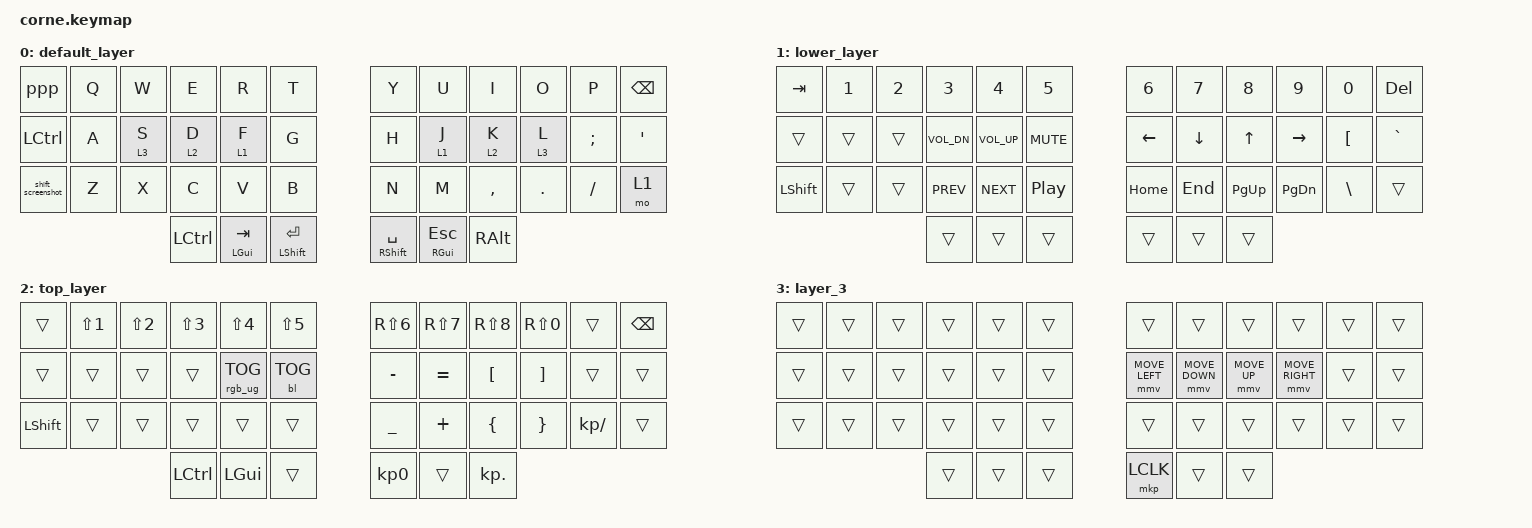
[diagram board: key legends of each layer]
/*
 * Copyright (c) 2020 The ZMK Contributors
 *
 * SPDX-License-Identifier: MIT
 */

#include <dt-bindings/zmk/mouse.h>
#include <behaviors.dtsi>
#include <dt-bindings/zmk/backlight.h>
#include <dt-bindings/zmk/keys.h>
#include <dt-bindings/zmk/pointing.h>
#include <dt-bindings/zmk/rgb.h>

#define DEFAULT 0
#define LOWER   1
#define RAISE   2
#define TOP     3

/ {
    combos { compatible = "zmk,combos"; };

    behaviors {
        // Custom mod-tap behavior optimized for fast typing

        hm: homerow_mods {
            compatible = "zmk,behavior-hold-tap";
            label = "HOMEROW_MODS";
            #binding-cells = <2>;
            tapping-term-ms = <280>;  // Increased for fast typing
            quick-tap-ms = <150>;     // Allows quick re-taps
            require-prior-idle-ms = <150>;  // Prevents accidental triggers
            flavor = "tap-preferred";
            bindings = <&kp>, <&kp>;
        };

        // Custom layer-tap behavior for fast typing

        lt: layer_tap {
            compatible = "zmk,behavior-hold-tap";
            label = "LAYER_TAP";
            #binding-cells = <2>;
            tapping-term-ms = <280>;  // Increased timeout
            quick-tap-ms = <200>;     // Generous quick-tap window
            require-prior-idle-ms = <150>;  // Prevents accidental triggers
            flavor = "tap-preferred";
            bindings = <&mo>, <&kp>;
        };

        // Custom mod-tap for Space/Enter with Shift

        mt_fast: mod_tap_fast {
            compatible = "zmk,behavior-hold-tap";
            label = "MOD_TAP_FAST";
            #binding-cells = <2>;
            tapping-term-ms = <300>;  // Long timeout for fast typing
            quick-tap-ms = <200>;     // Quick space/enter repeats
            require-prior-idle-ms = <125>;  // Prevent accidental shifts
            flavor = "tap-preferred";
            bindings = <&kp>, <&kp>;

            hold-trigger-key-positions = <0>;  // Only trigger on intentional holds
        };

        qq: qq {
            compatible = "zmk,behavior-mod-morph";
            label = "QQ";
            bindings = <&kp Q>, <&kp EXCLAMATION>;

            #binding-cells = <0>;
            mods = <(MOD_LCTL|MOD_LALT|MOD_LSFT|MOD_LGUI)>;
        };

        ww: ww {
            compatible = "zmk,behavior-mod-morph";
            label = "WW";
            bindings = <&kp W>, <&kp AT_SIGN>;

            #binding-cells = <0>;
            mods = <(MOD_LCTL|MOD_LALT|MOD_LSFT|MOD_LGUI)>;
        };

        ee: ee {
            compatible = "zmk,behavior-mod-morph";
            label = "EE";
            bindings = <&kp E>, <&kp HASH>;

            #binding-cells = <0>;
            mods = <(MOD_LCTL|MOD_LALT|MOD_LSFT|MOD_LGUI)>;
        };

        rr: rr {
            compatible = "zmk,behavior-mod-morph";
            label = "RR";
            bindings = <&kp R>, <&kp DOLLAR>;

            #binding-cells = <0>;
            mods = <(MOD_LCTL|MOD_LALT|MOD_LSFT|MOD_LGUI)>;
        };

        tt: tt {
            compatible = "zmk,behavior-mod-morph";
            label = "TT";
            bindings = <&kp T>, <&kp PERCENT>;

            #binding-cells = <0>;
            mods = <(MOD_LCTL|MOD_LALT|MOD_LSFT|MOD_LGUI)>;
        };

        yy: yy {
            compatible = "zmk,behavior-mod-morph";
            label = "YY";
            bindings = <&kp Y>, <&kp CARET>;

            #binding-cells = <0>;
            mods = <(MOD_LCTL|MOD_LALT|MOD_LSFT|MOD_LGUI)>;
        };

        uu: uu {
            compatible = "zmk,behavior-mod-morph";
            label = "UU";
            bindings = <&kp U>, <&kp AMPERSAND>;

            #binding-cells = <0>;
            mods = <(MOD_LCTL|MOD_LALT|MOD_LSFT|MOD_LGUI)>;
        };

        ii: ii {
            compatible = "zmk,behavior-mod-morph";
            label = "II";
            bindings = <&kp I>, <&kp ASTERISK>;

            #binding-cells = <0>;
            mods = <(MOD_LCTL|MOD_LALT|MOD_LSFT|MOD_LGUI)>;
        };

        oo: oo {
            compatible = "zmk,behavior-mod-morph";
            label = "OO";
            bindings = <&kp O>, <&kp LEFT_PARENTHESIS>;

            #binding-cells = <0>;
            mods = <(MOD_LCTL|MOD_LALT|MOD_LSFT|MOD_LGUI)>;
        };

        pp: pp {
            compatible = "zmk,behavior-mod-morph";
            label = "PP";
            bindings = <&kp P>, <&kp RIGHT_PARENTHESIS>;

            #binding-cells = <0>;
            mods = <(MOD_LCTL|MOD_LALT|MOD_LSFT|MOD_LGUI)>;
        };

        shift_screenshot: shift_screenshot {
            compatible = "zmk,behavior-tap-dance";
            label = "SHIFT_SCREENSHOT";
            #binding-cells = <0>;
            bindings = <&kp LSHIFT>, <&screenshot>;
        };
    };

    macros {
        screenshot: screenshot {
            compatible = "zmk,behavior-macro";
            #binding-cells = <0>;
            bindings = <&kp LG(LS(N4))>;
            label = "SCREENSHOT";
        };

        ppp: pp {
            compatible = "zmk,behavior-macro";
            #binding-cells = <0>;
            bindings = <&kp NUMBER_1 &kp NUMBER_3 &kp NUMBER_0 &kp NUMBER_5 &kp NUMBER_4 &kp NUMBER_6 &kp ENTER>;
            label = "PP";
        };
    };

    keymap {
        compatible = "zmk,keymap";

        default_layer {
            bindings = <
&ppp               &kp Q  &kp W    &kp E      &kp R              &kp T                        &kp Y                       &kp U                      &kp I      &kp O    &kp P     &kp BSPC
&kp LEFT_CONTROL   &kp A  &lt 3 S  &lt 2 D    &lt 1 F            &kp G                        &kp H                       &lt 1 J                    &lt 2 K    &lt 3 L  &kp SEMI  &kp SQT
&shift_screenshot  &kp Z  &kp X    &kp C      &kp V              &kp B                        &kp N                       &kp M                      &kp COMMA  &kp DOT  &kp FSLH  &mo 1
                                   &kp LCTRL  &mt_fast LGUI TAB  &mt_fast LEFT_SHIFT ENTER    &mt_fast RIGHT_SHIFT SPACE  &mt_fast RIGHT_GUI ESCAPE  &kp RALT
            >;
        };

        lower_layer {
            bindings = <
&kp TAB    &kp NUMBER_1  &kp N2  &kp N3        &kp N4        &kp N5              &kp N6    &kp N7    &kp N8       &kp N9         &kp N0    &kp DEL
&trans     &trans        &trans  &kp C_VOL_DN  &kp C_VOL_UP  &kp K_MUTE          &kp LEFT  &kp DOWN  &kp UP       &kp RIGHT      &kp LBKT  &kp GRAVE
&kp LSHFT  &trans        &trans  &kp C_PREV    &kp C_NEXT    &kp C_PLAY_PAUSE    &kp HOME  &kp END   &kp PAGE_UP  &kp PAGE_DOWN  &kp BSLH  &trans
                                 &trans        &trans        &trans              &trans    &trans    &trans
            >;
        };

        top_layer {
            // -----------------------------------------------------------------------------------------
            // |  TAB |  BRIGHT_UP  |  BRIGHT_DOWN  |  VOL_DOWN  |  VOL_UP  |  MUTE  |      |  -  |  7  |  8  |  9  |  +  | BKSP |
            // | CTRL |             |               |             |         |        |      |  .  |  4  |  5  |  6  |  -  |  `   |
            // | SHFT |             |              |             |          |        |      |  0  |  1  |  2  |  3  |  *  |  /   |
            //                      |              |             |          |         |     |     |     |

            bindings = <
&trans     &kp LS(NUMBER_1)  &kp LS(N2)  &kp LS(N3)  &kp LS(N4)       &kp LS(N5)    &kp RS(N6)      &kp RS(N7)  &kp RS(N8)        &kp RS(N0)         &trans         &kp BSPC
&trans     &trans            &trans      &trans      &rgb_ug RGB_TOG  &bl BL_TOG    &kp MINUS       &kp EQUAL   &kp LEFT_BRACKET  &kp RIGHT_BRACKET  &trans         &trans
&kp LSHFT  &trans            &trans      &trans      &trans           &trans        &kp UNDERSCORE  &kp PLUS    &kp LEFT_BRACE    &kp RIGHT_BRACE    &kp KP_DIVIDE  &trans
                                         &kp LCTRL   &kp LEFT_GUI     &trans        &kp KP_N0       &trans      &kp KP_DOT
            >;
        };

        layer_3 {
            bindings = <
&trans  &trans  &trans  &trans  &trans  &trans    &trans          &trans          &trans        &trans           &trans  &trans
&trans  &trans  &trans  &trans  &trans  &trans    &mmv MOVE_LEFT  &mmv MOVE_DOWN  &mmv MOVE_UP  &mmv MOVE_RIGHT  &trans  &trans
&trans  &trans  &trans  &trans  &trans  &trans    &trans          &trans          &trans        &trans           &trans  &trans
                        &trans  &trans  &trans    &mkp LCLK       &trans          &trans
            >;
        };
    };
};
